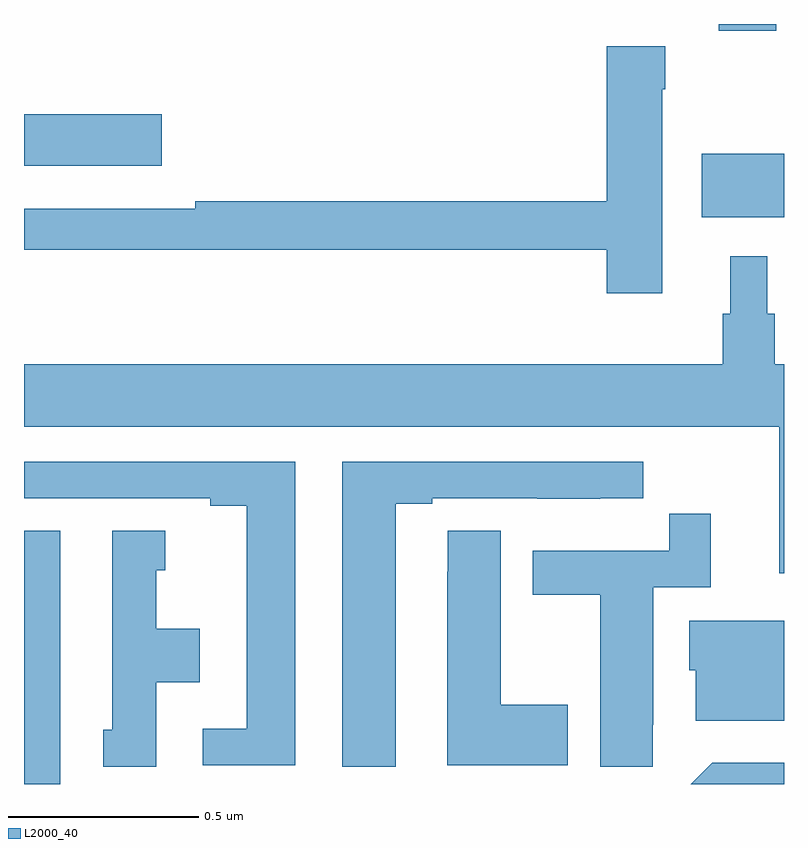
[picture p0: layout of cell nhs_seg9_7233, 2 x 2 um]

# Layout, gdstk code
import gdstk
lib = gdstk.Library(unit=1e-6, precision=1e-09)
def R(c, l, rs):  # rectangles x0, y0, x1, y1
    for r in rs: c.add(gdstk.rectangle(r[:2], r[2:], *l))
def P(c, l, *ps):  # polygons
    for p in ps: c.add(gdstk.Polygon(p, *l))
L2000_40 = (2000, 40)

nhs_seg9_7233 = lib.new_cell('nhs_seg9_7233')
R(nhs_seg9_7233, L2000_40, [(202,1175.5,202.096,1176.166), (203.784,1176.992,204,1177.158), (202,1177.127,202.363,1177.262), (203.828,1177.482,203.98,1177.5)])
P(nhs_seg9_7233, L2000_40, [(203.68,1177.328),(203.688,1177.328),(203.688,1177.441),(203.534,1177.441),(203.534,1177.034),(202.45,1177.034),(202.45,1177.014),(202,1177.014),(202,1176.906),(203.534,1176.906),(203.534,1176.792),(203.68,1176.792)],
  [(204,1176.604),(203.975,1176.604),(203.975,1176.738),(203.956,1176.738),(203.956,1176.889),(203.858,1176.889),(203.858,1176.738),(203.839,1176.738),(203.839,1176.604),(202,1176.604),(202,1176.44),(203.987,1176.44),(203.987,1176.054),(204,1176.054)],
  [(202.978,1176.237),(203.074,1176.237),(203.074,1176.252),(203.35,1176.252),(203.35,1176.251),(203.516,1176.251),(203.516,1176.252),(203.629,1176.252),(203.629,1176.348),(202.838,1176.348),(202.838,1175.545),(202.978,1175.545)],
  [(202.714,1176.348),(202,1176.348),(202,1176.252),(202.49,1176.252),(202.49,1176.232),(202.586,1176.232),(202.586,1175.646),(202.47,1175.646),(202.47,1175.55),(202.714,1175.55)],
  [(203.655,1175.656),(203.656,1175.656),(203.656,1176.018),(203.807,1176.018),(203.807,1176.211),(203.698,1176.211),(203.698,1176.114),(203.339,1176.114),(203.339,1175.998),(203.516,1175.998),(203.516,1175.545),(203.655,1175.545)],
  [(203.431,1175.709),(203.254,1175.709),(203.254,1176.167),(203.115,1176.167),(203.115,1176.059),(203.114,1176.059),(203.114,1175.549),(203.431,1175.549)],
  [(202.348,1175.768),(202.462,1175.768),(202.462,1175.908),(202.348,1175.908),(202.348,1176.063),(202.372,1176.063),(202.372,1176.166),(202.232,1176.166),(202.232,1175.643),(202.208,1175.643),(202.208,1175.545),(202.348,1175.545)],
  [(204,1175.929),(203.75,1175.929),(203.75,1175.799),(203.768,1175.799),(203.768,1175.666),(204,1175.666)],
  [(204,1175.556),(203.811,1175.556),(203.755,1175.5),(204,1175.5)])

lib.write_gds('nhs_seg9_7233.gds')
